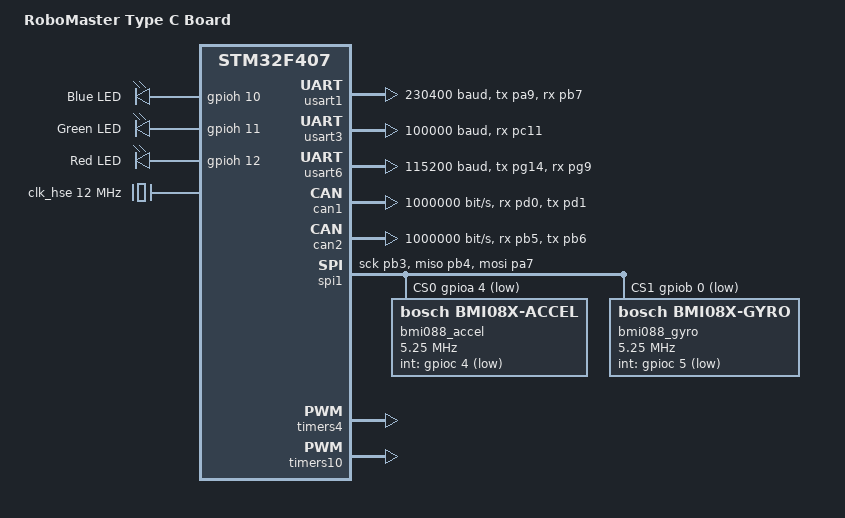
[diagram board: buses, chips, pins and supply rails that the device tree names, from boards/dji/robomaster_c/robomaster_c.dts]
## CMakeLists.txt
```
cmake_minimum_required(VERSION 3.20.0)

find_package(Zephyr REQUIRED HINTS $ENV{ZEPHYR_BASE})
project(unit1_dm4310_test)

target_sources(app PRIVATE
	src/main.c
	src/dm4310_motor.c
)
```

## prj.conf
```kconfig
CONFIG_CAN=y
CONFIG_PRINTK=y
CONFIG_CBPRINTF_FP_SUPPORT=y
```

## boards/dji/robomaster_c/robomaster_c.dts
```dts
/*
 * SPDX-License-Identifier: Apache-2.0
 */

/dts-v1/;

#include <st/f4/stm32f407Xg.dtsi>
#include <st/f4/stm32f407i(e-g)hx-pinctrl.dtsi>
#include <zephyr/dt-bindings/dma/stm32_dma.h>
#include <zephyr/dt-bindings/gpio/gpio.h>

/ {
	model = "RoboMaster Type C Board";
	compatible = "dji,robomaster-c", "st,stm32f407";

	chosen {
		zephyr,console = &usart1;
		zephyr,shell-uart = &usart1;
		zephyr,sram = &sram0;
		zephyr,flash = &flash0;
		zephyr,dtcm = &ccm0;
		zephyr,canbus = &can1;
	};

	aliases {
		led0 = &blue_led;
		led1 = &green_led;
		led2 = &red_led;
		watchdog0 = &iwdg;
	};

	leds {
		compatible = "gpio-leds";

		blue_led: led_0 {
			gpios = <&gpioh 10 GPIO_ACTIVE_HIGH>;
			label = "Blue LED";
		};

		green_led: led_1 {
			gpios = <&gpioh 11 GPIO_ACTIVE_HIGH>;
			label = "Green LED";
		};

		red_led: led_2 {
			gpios = <&gpioh 12 GPIO_ACTIVE_HIGH>;
			label = "Red LED";
		};
	};
};

&clk_hse {
	clock-frequency = <DT_FREQ_M(12)>;
	status = "okay";
};

&pll {
	div-m = <6>;
	mul-n = <168>;
	div-p = <2>;
	div-q = <7>;
	clocks = <&clk_hse>;
	status = "okay";
};

&rcc {
	clocks = <&pll>;
	clock-frequency = <DT_FREQ_M(168)>;
	ahb-prescaler = <1>;
	apb1-prescaler = <4>;
	apb2-prescaler = <2>;
};

&usart1 {
	pinctrl-0 = <&usart1_tx_pa9 &usart1_rx_pb7>;
	pinctrl-names = "default";
	current-speed = <230400>;
	status = "okay";
};

&usart3 {
	pinctrl-0 = <&usart3_rx_pc11>;
	pinctrl-names = "default";
	current-speed = <100000>;
	dmas = <&dma1 3 4 STM32_DMA_PERIPH_TX STM32_DMA_FIFO_FULL>,
	       <&dma1 1 4 (STM32_DMA_PERIPH_RX | STM32_DMA_MODE_CYCLIC) STM32_DMA_FIFO_FULL>;
	dma-names = "tx", "rx";
	status = "okay";
};

&dma1 {
	status = "okay";
};

&usart6 {
	pinctrl-0 = <&usart6_tx_pg14 &usart6_rx_pg9>;
	pinctrl-names = "default";
	current-speed = <115200>;
	status = "okay";
};

&can1 {
	pinctrl-0 = <&can1_rx_pd0 &can1_tx_pd1>;
	pinctrl-names = "default";
	bitrate = <1000000>;
	status = "okay";
};

&can2 {
	pinctrl-0 = <&can2_rx_pb5 &can2_tx_pb6>;
	pinctrl-names = "default";
	bitrate = <1000000>;
	status = "okay";
};

&flash0 {
	partitions {
		compatible = "fixed-partitions";
		#address-cells = <1>;
		#size-cells = <1>;

		code_partition: partition@0 {
			label = "image-0";
			reg = <0x00000000 0x000c0000>;
		};

		storage_partition: partition@c0000 {
			label = "storage";
			reg = <0x000c0000 0x00040000>;
		};
	};
};

&spi1 {
	pinctrl-0 = <&spi1_sck_pb3 &spi1_miso_pb4 &spi1_mosi_pa7>;
	pinctrl-names = "default";
	cs-gpios = <&gpioa 4 GPIO_ACTIVE_LOW>,
		   <&gpiob 0 GPIO_ACTIVE_LOW>;
	status = "okay";

	bmi088_accel: bmi088-accel@0 {
		compatible = "bosch,bmi08x-accel";
		reg = <0>;
		spi-max-frequency = <5250000>;
		spi-cpol;
		spi-cpha;
		int-gpios = <&gpioc 4 GPIO_ACTIVE_LOW>;
		int1-map-io = <0x01>;
		int1-conf-io = <0x08>;
		int2-map-io = <0x01>;
		int2-conf-io = <0x08>;
		accel-hz = "800";
		accel-fs = <3>;
	};

	bmi088_gyro: bmi088-gyro@1 {
		compatible = "bosch,bmi08x-gyro";
		reg = <1>;
		spi-max-frequency = <5250000>;
		spi-cpol;
		spi-cpha;
		int-gpios = <&gpioc 5 GPIO_ACTIVE_LOW>;
		int3-4-map-io = <0x01>;
		int3-4-conf-io = <0x00>;
		gyro-hz = "1000_116";
		gyro-fs = <2000>;
	};
};

&timers4 {
	status = "okay";

	buzzer_pwm: pwm {
		pinctrl-0 = <&tim4_ch3_pd14>;
		pinctrl-names = "default";
		status = "okay";
	};
};

&timers10 {
	status = "okay";

	imu_heater_pwm: pwm {
		pinctrl-0 = <&tim10_ch1_pf6>;
		pinctrl-names = "default";
		status = "okay";
	};
};
```

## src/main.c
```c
/**
 * @file main.c
 * @brief DM4310 Spring-Damper + Side Detection
 *
 * Power-on flow:
 *   1. dm4310_init()  - init CAN1/CAN2, both buses at 1Mbps
 *   2. dm4310_tick()  - per-motor bringup (DISABLE 10 ticks -> ZERO 10 ticks -> DONE)
 *   3. After bringup, capture current motor positions as spring home
 *   4. Spring-damper hold: low-stiffness MIT impedance control
 *        torque = KP * (home_pos - pos_actual) + KD * (0 - vel_actual)
 *      Low KP allows manual turning; spring-back when released.
 *   5. Side detection: monitors which leg pair is being moved.
 *
 * Architecture for future leg sync:
 *   Left leg:  motors 1 (hip) + 2 (knee) on CAN1
 *   Right leg: motors 3 (hip) + 4 (knee) on CAN2
 *   Each side tracks its own spring home; sync couples them.
 *
 * OpenOCD debug variables (volatile, accessible via gdb/monitor mdw):
 *   cmd_kp               - spring stiffness (0-500, default 10)
 *   cmd_kd               - damping (0-5, default 0.5)
 *   cmd_target_offset[]  - target position offset from home [rad]
 *   cmd_side_on_thresh   - side detection ON threshold [rad] (default 0.08)
 *   cmd_side_off_thresh  - side detection OFF threshold [rad] (default 0.03)
 *   cmd_side_active[]    - [0]=left active flag, [1]=right active flag
 *   g_dm4310             - full driver state
 *
 * Motor mapping:
 *   CAN1 -> motor 1 (left hip), motor 2 (left knee)
 *   CAN2 -> motor 3 (right hip), motor 4 (right knee, mirrored)
 */

#include "dm4310_motor.h"

#include <math.h>
#include <zephyr/kernel.h>
#include <zephyr/sys/util.h>

#define LOOP_PERIOD_MS 1U

/* ── Spring-damper gains (low force, hand-turnable) ── */
volatile float cmd_kp = 10.0f;
volatile float cmd_kd = 0.5f;
volatile float cmd_target_offset[DM4310_MOTOR_COUNT];

/* ── Side detection (hysteresis + debounce prevents mechanical-coupling crosstalk) ── */
volatile float cmd_side_on_thresh  = 0.08f;  /* error > this → side active */
volatile float cmd_side_off_thresh = 0.03f;  /* error < this → side inactive */
#define SIDE_DEBOUNCE_MS 80U                /* must sustain for this long */
volatile uint8_t cmd_side_active[2];  /* [0]=left, [1]=right */
static uint8_t  side_dbc[2];         /* debounce counter (ms) */
static uint32_t side_last_ms;

/* ── Spring home positions ── */
static float home_pos_rad[DM4310_MOTOR_COUNT];
static bool home_captured;

/** @brief Capture current motor positions as spring home reference */
static void capture_home(void)
{
	for (int i = 0; i < DM4310_MOTOR_COUNT; i++) {
		home_pos_rad[i] = g_dm4310.motor[i].online
			? g_dm4310.motor[i].pos_rad : 0.0f;
	}
	home_captured = true;
}

static void compute_spring_targets(float target[DM4310_MOTOR_COUNT])
{
	for (int i = 0; i < DM4310_MOTOR_COUNT; i++) {
		target[i] = home_pos_rad[i] + cmd_target_offset[i];
		g_dm4310.hold_kp[i] = cmd_kp;
		g_dm4310.hold_kd[i] = cmd_kd;
	}
}

static void detect_active_side(const float target[DM4310_MOTOR_COUNT])
{
	float error_left  = 0.0f;
	float error_right = 0.0f;
	uint32_t now = k_uptime_get_32();
	uint32_t dt_ms = (side_last_ms != 0U) ? (now - side_last_ms) : LOOP_PERIOD_MS;
	side_last_ms = now;

	/* Left leg: motors 1,2 (indices 0,1) */
	for (int i = 0; i < 2; i++) {
		if (g_dm4310.motor[i].online) {
			float e = fabsf(g_dm4310.motor[i].pos_rad - target[i]);
			if (e > error_left) error_left = e;
		}
	}
	/* Hysteresis + debounce: ON when sustained above on_thresh */
	if (error_left > cmd_side_on_thresh) {
		side_dbc[0] = (uint8_t)((uint32_t)side_dbc[0] + dt_ms);
		if (side_dbc[0] >= SIDE_DEBOUNCE_MS) {
			side_dbc[0] = SIDE_DEBOUNCE_MS;
			cmd_side_active[0] = 1U;
		}
	} else if (error_left < cmd_side_off_thresh) {
		side_dbc[0] = 0U;
		cmd_side_active[0] = 0U;
	}

	/* Right leg: motors 3,4 (indices 2,3) */
	for (int i = 2; i < 4; i++) {
		if (g_dm4310.motor[i].online) {
			float e = fabsf(g_dm4310.motor[i].pos_rad - target[i]);
			if (e > error_right) error_right = e;
		}
	}
	if (error_right > cmd_side_on_thresh) {
		side_dbc[1] = (uint8_t)((uint32_t)side_dbc[1] + dt_ms);
		if (side_dbc[1] >= SIDE_DEBOUNCE_MS) {
			side_dbc[1] = SIDE_DEBOUNCE_MS;
			cmd_side_active[1] = 1U;
		}
	} else if (error_right < cmd_side_off_thresh) {
		side_dbc[1] = 0U;
		cmd_side_active[1] = 0U;
	}
}

/** @brief Main control thread */
static void joint_test_thread(void *p1, void *p2, void *p3)
{
	ARG_UNUSED(p1); ARG_UNUSED(p2); ARG_UNUSED(p3);

	int ret = dm4310_init();
	printk("dm4310_init: %d\n", ret);

	while (1) {
		dm4310_poll_rx();

		if (g_dm4310.bringup_done) {
			if (!home_captured) {
				capture_home();
				printk("Spring home captured, KP=%.1f KD=%.1f\n",
				       (double)cmd_kp, (double)cmd_kd);
			}

			if (home_captured) {
				float target[DM4310_MOTOR_COUNT];
				compute_spring_targets(target);
				detect_active_side(target);
				dm4310_hold_positions(target);

				/* Print side activity state changes */
				static uint8_t last_side[2] = {0xFF, 0xFF};
				if (cmd_side_active[0] != last_side[0] ||
				    cmd_side_active[1] != last_side[1]) {
					printk("Side: L=%d R=%d\n",
					       cmd_side_active[0], cmd_side_active[1]);
					last_side[0] = cmd_side_active[0];
					last_side[1] = cmd_side_active[1];
				}

				/* Throttled status print: once per second */
				static uint32_t status_tick;
				if (++status_tick >= 1000) {
					status_tick = 0;
					printk("pos:[%.3f %.3f %.3f %.3f] err:[%.3f %.3f %.3f %.3f] L=%d R=%d\n",
					       (double)g_dm4310.motor[0].pos_rad,
					       (double)g_dm4310.motor[1].pos_rad,
					       (double)g_dm4310.motor[2].pos_rad,
					       (double)g_dm4310.motor[3].pos_rad,
					       (double)(g_dm4310.motor[0].pos_rad - target[0]),
					       (double)(g_dm4310.motor[1].pos_rad - target[1]),
					       (double)(g_dm4310.motor[2].pos_rad - target[2]),
					       (double)(g_dm4310.motor[3].pos_rad - target[3]),
					       cmd_side_active[0], cmd_side_active[1]);
				}
			}
		}

		dm4310_tick();
		k_sleep(K_MSEC(LOOP_PERIOD_MS));
	}
}

K_THREAD_DEFINE(joint_test_tid, 4096,
		joint_test_thread, NULL, NULL, NULL, 3, 0, 0);

int main(void)
{
	printk("=== DM4310 Spring-Damper + Side Detect ===\n");
	printk("KP=%.1f KD=%.1f  SideDetect(ON>%.2f OFF<%.2f rad)\n",
	       (double)cmd_kp, (double)cmd_kd,
	       (double)cmd_side_on_thresh, (double)cmd_side_off_thresh);
	printk("Left:  motors 1,2 on CAN1\n");
	printk("Right: motors 3,4 on CAN2\n");
	return 0;
}
```

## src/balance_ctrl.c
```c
#include "balance_ctrl.h"

#include <math.h>
#include <string.h>

/* Balance control tunables. Keep this block together for OpenOCD tuning. */
#define BALANCE_WHEEL_SPEED_LIMIT_RPM 3000.0f
#define BALANCE_WHEEL_CURRENT_LIMIT 16384.0f
#define BALANCE_RC_INPUT_MAX 1684.0f
#define BALANCE_RC_SPEED_LIMIT_RPM BALANCE_WHEEL_SPEED_LIMIT_RPM

#define BALANCE_SPEED_KP_DEFAULT 20.0f
#define BALANCE_SPEED_KI_DEFAULT 0. 05f
#define BALANCE_SPEED_INTEGRAL_LIMIT 80000.0f

#define BALANCE_PITCH_KP_DEFAULT 90.0f
#define BALANCE_PITCH_KD_DEFAULT 4.5f

volatile struct balance_ctrl_state g_balance_ctrl = {
	.magic = BALANCE_CTRL_MAGIC,
};

static float clampf_local(float value, float min_value, float max_value)
{
	if (value > max_value) {
		return max_value;
	}
	if (value < min_value) {
		return min_value;
	}

	return value;
}

static void clear_output(struct balance_ctrl_output *output)
{
	output->active = 0U;
	output->wheel_current[0] = 0;
	output->wheel_current[1] = 0;
}

static void clear_runtime(volatile struct balance_ctrl_state *ctrl)
{
	ctrl->pitch_zero_deg = 0.0f;
	ctrl->pitch_deg = 0.0f;
	ctrl->pitch_rate_dps = 0.0f;
	ctrl->pitch_target_deg = 0.0f;
	ctrl->pitch_error_deg = 0.0f;
	ctrl->pitch_rate_error_dps = 0.0f;
	ctrl->speed_target_rpm = 0.0f;
	ctrl->rc_speed_target_rpm = 0.0f;
	ctrl->balance_speed_target_rpm = 0.0f;
	ctrl->left_speed_target_rpm = 0.0f;
	ctrl->right_speed_target_rpm = 0.0f;
	ctrl->vehicle_speed_rpm = 0.0f;
	ctrl->left_speed_error_rpm = 0.0f;
	ctrl->right_speed_error_rpm = 0.0f;
	ctrl->left_speed_integral = 0.0f;
	ctrl->right_speed_integral = 0.0f;
	ctrl->pitch_p_out_rpm = 0.0f;
	ctrl->pitch_d_out_rpm = 0.0f;
	ctrl->left_speed_p_out = 0.0f;
	ctrl->left_speed_i_out = 0.0f;
	ctrl->right_speed_p_out = 0.0f;
	ctrl->right_speed_i_out = 0.0f;
	ctrl->left_current = 0.0f;
	ctrl->right_current = 0.0f;
}

static void controller_reset(volatile struct balance_ctrl_state *ctrl)
{
	ctrl->enabled = 0U;
	ctrl->captured = 0U;
	clear_runtime(ctrl);
}

static float rc_to_speed_target_rpm(int32_t rc_forward)
{
	float target = (float)rc_forward * BALANCE_RC_SPEED_LIMIT_RPM / BALANCE_RC_INPUT_MAX;

	return clampf_local(target, -BALANCE_RC_SPEED_LIMIT_RPM,
			    BALANCE_RC_SPEED_LIMIT_RPM);
}

static float update_pitch_loop(volatile struct balance_ctrl_state *ctrl,
			       const struct balance_ctrl_input *input)
{
	ctrl->pitch_deg = input->pitch_deg;
	ctrl->pitch_rate_dps = input->pitch_rate_dps;
	ctrl->pitch_target_deg = ctrl->pitch_zero_deg;
	ctrl->pitch_error_deg = ctrl->pitch_target_deg - input->pitch_deg;
	ctrl->pitch_rate_error_dps = -input->pitch_rate_dps;
	ctrl->pitch_p_out_rpm = ctrl->pitch_pd.kp * ctrl->pitch_error_deg;
	ctrl->pitch_d_out_rpm = ctrl->pitch_pd.kd * ctrl->pitch_rate_error_dps;
	ctrl->balance_speed_target_rpm = ctrl->pitch_p_out_rpm + ctrl->pitch_d_out_rpm;

	return clampf_local(ctrl->balance_speed_target_rpm,
			    -BALANCE_WHEEL_SPEED_LIMIT_RPM,
			    BALANCE_WHEEL_SPEED_LIMIT_RPM);
}

static float update_wheel_speed_loop(volatile struct balance_ctrl_state *ctrl,
				     float target_rpm, float actual_rpm, uint8_t left)
{
	float error = target_rpm - actual_rpm;
	float integral;
	float p_out;
	float i_out;
	float current;

	if (left != 0U) {
		ctrl->left_speed_error_rpm = error;
		ctrl->left_speed_integral += error;
		ctrl->left_speed_integral =
			clampf_local(ctrl->left_speed_integral,
				     -ctrl->speed_pi.integral_limit,
				     ctrl->speed_pi.integral_limit);
		integral = ctrl->left_speed_integral;
	} else {
		ctrl->right_speed_error_rpm = error;
		ctrl->right_speed_integral += error;
		ctrl->right_speed_integral =
			clampf_local(ctrl->right_speed_integral,
				     -ctrl->speed_pi.integral_limit,
				     ctrl->speed_pi.integral_limit);
		integral = ctrl->right_speed_integral;
	}

	p_out = ctrl->speed_pi.kp * error;
	i_out = ctrl->speed_pi.ki * integral;
	current = clampf_local(p_out + i_out, -ctrl->speed_pi.output_limit,
			       ctrl->speed_pi.output_limit);

	if (left != 0U) {
		ctrl->left_speed_p_out = p_out;
		ctrl->left_speed_i_out = i_out;
		ctrl->left_current = current;
	} else {
		ctrl->right_speed_p_out = p_out;
		ctrl->right_speed_i_out = i_out;
		ctrl->right_current = current;
	}

	return current;
}

void balance_ctrl_init(volatile struct balance_ctrl_state *ctrl)
{
	memset((void *)ctrl, 0, sizeof(*ctrl));
	ctrl->magic = BALANCE_CTRL_MAGIC;

	ctrl->speed_pi.kp = BALANCE_SPEED_KP_DEFAULT;
	ctrl->speed_pi.ki = BALANCE_SPEED_KI_DEFAULT;
	ctrl->speed_pi.integral_limit = BALANCE_SPEED_INTEGRAL_LIMIT;
	ctrl->speed_pi.output_limit = BALANCE_WHEEL_CURRENT_LIMIT;

	ctrl->pitch_pd.kp = BALANCE_PITCH_KP_DEFAULT;
	ctrl->pitch_pd.kd = BALANCE_PITCH_KD_DEFAULT;
	ctrl->pitch_pd.output_limit = BALANCE_WHEEL_SPEED_LIMIT_RPM;
}

void balance_ctrl_update(volatile struct balance_ctrl_state *ctrl,
			 const struct balance_ctrl_input *input,
			 struct balance_ctrl_output *output)
{
	float rc_speed_target;
	float balance_speed_target;
	float left_current;
	float right_current;

	ctrl->update_count++;
	ctrl->last_ms = input->now_ms;
	ctrl->enabled = input->enabled;

	clear_output(output);

	if (input->enabled == 0U) {
		controller_reset(ctrl);
		return;
	}

	if (ctrl->captured == 0U) {
		ctrl->pitch_zero_deg = input->pitch_deg;
		ctrl->captured = 1U;
	}

	rc_speed_target = rc_to_speed_target_rpm(input->rc_forward);
	balance_speed_target = update_pitch_loop(ctrl, input);

	ctrl->rc_speed_target_rpm = rc_speed_target;
	ctrl->speed_target_rpm = rc_speed_target;
	ctrl->vehicle_speed_rpm =
		((float)input->wheel_speed_rpm[0] + (float)input->wheel_speed_rpm[1]) *
		0.5f;
	ctrl->left_speed_target_rpm =
		clampf_local(balance_speed_target + rc_speed_target,
			     -BALANCE_WHEEL_SPEED_LIMIT_RPM,
			     BALANCE_WHEEL_SPEED_LIMIT_RPM);
	ctrl->right_speed_target_rpm = ctrl->left_speed_target_rpm;

	left_current = update_wheel_speed_loop(ctrl, ctrl->left_speed_target_rpm,
					       (float)input->wheel_speed_rpm[0], 1U);
	right_current = update_wheel_speed_loop(ctrl, ctrl->right_speed_target_rpm,
						(float)input->wheel_speed_rpm[1], 0U);

	output->active = 1U;
	output->wheel_current[0] = (int16_t)lrintf(left_current);
	output->wheel_current[1] = (int16_t)lrintf(right_current);
}
```

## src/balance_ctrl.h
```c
#ifndef BALANCE_CTRL_H_
#define BALANCE_CTRL_H_

#include <stdint.h>

#define BALANCE_CTRL_MAGIC 0x42414c31
#define BALANCE_CTRL_WHEEL_COUNT 2

struct balance_ctrl_input {
	uint32_t now_ms;
	float dt_s;
	uint8_t enabled;
	uint8_t position_hold_enabled;
	int32_t rc_forward;
	int32_t rc_turn;
	float pitch_deg;
	float pitch_rate_dps;
	uint8_t wheel_online[BALANCE_CTRL_WHEEL_COUNT];
	uint16_t wheel_angle_raw[BALANCE_CTRL_WHEEL_COUNT];
	int16_t wheel_speed_rpm[BALANCE_CTRL_WHEEL_COUNT];
};

struct balance_ctrl_output {
	uint8_t active;
	int16_t wheel_current[BALANCE_CTRL_WHEEL_COUNT];
};

struct balance_ctrl_pd {
	float kp;
	float kd;
	float output_limit;
};

struct balance_ctrl_pi {
	float kp;
	float ki;
	float integral_limit;
	float output_limit;
};

struct balance_ctrl_state {
	uint32_t magic;
	uint32_t update_count;
	uint32_t last_ms;
	uint8_t enabled;
	uint8_t captured;
	uint8_t reserved[2];
	float pitch_zero_deg;
	float pitch_deg;
	float pitch_rate_dps;
	float pitch_target_deg;
	float pitch_error_deg;
	float pitch_rate_error_dps;
	float speed_target_rpm;
	float rc_speed_target_rpm;
	float balance_speed_target_rpm;
	float left_speed_target_rpm;
	float right_speed_target_rpm;
	float turn_speed_target_rpm;
	float vehicle_speed_rpm;
	float left_speed_error_rpm;
	float right_speed_error_rpm;
	float left_speed_integral;
	float right_speed_integral;
	float pitch_p_out_rpm;
	float pitch_d_out_rpm;
	float left_speed_p_out;
	float left_speed_i_out;
	float right_speed_p_out;
	float right_speed_i_out;
	float left_current;
	float right_current;
	struct balance_ctrl_pi speed_pi;
	struct balance_ctrl_pd pitch_pd;
};

extern volatile struct balance_ctrl_state g_balance_ctrl;

void balance_ctrl_init(volatile struct balance_ctrl_state *ctrl);
void balance_ctrl_update(volatile struct balance_ctrl_state *ctrl,
			 const struct balance_ctrl_input *input,
			 struct balance_ctrl_output *output);

#endif
```

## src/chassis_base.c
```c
#include "chassis_base.h"

#include "balance_ctrl.h"
#include "chassis_sm.h"
#include "dm4310_motor.h"
#include "rm_imu.h"
#include "rm_m3508.h"
#include "rm_sbus.h"

volatile struct chassis_base_status g_chassis_base = {
	.magic = CHASSIS_BASE_MAGIC,
};

volatile struct chassis_debug_override g_chassis_debug_override;
volatile struct chassis_m3508_command g_chassis_m3508_cmd;

void chassis_base_init(void)
{
	g_chassis_base.magic = CHASSIS_BASE_MAGIC;
	g_chassis_base.sbus_init_ret = rm_sbus_init();
	g_chassis_base.lk_init_ret = dm4310_init();
	g_chassis_base.m3508_init_ret = rm_m3508_init();
	g_chassis_base.imu_init_ret = rm_imu_init();
	balance_ctrl_init(&g_balance_ctrl);
	chassis_sm_init(&g_chassis_sm);
	g_chassis_base.init_done = 1U;
}
```

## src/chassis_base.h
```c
#ifndef CHASSIS_BASE_H_
#define CHASSIS_BASE_H_

#include "rm_m3508.h"

#include <stdint.h>

#define CHASSIS_BASE_MAGIC 0x43484253

enum chassis_m3508_mode {
	CHASSIS_M3508_MODE_DISABLED = 0,
	CHASSIS_M3508_MODE_CURRENT = 1,
};

struct chassis_m3508_command {
	uint32_t seq;
	uint8_t mode;
	uint8_t reserved[3];
	int16_t current[RM_M3508_MOTOR_COUNT];
};

struct chassis_base_status {
	uint32_t magic;
	uint32_t init_done;
	uint32_t last_ms;
	uint32_t imu_loops;
	uint32_t control_loops;
	uint32_t imu_last_ms;
	uint32_t control_last_ms;
	int32_t sbus_init_ret;
	int32_t lk_init_ret;
	int32_t m3508_init_ret;
	int32_t imu_init_ret;
	int32_t imu_update_ret;
	int32_t lk_poll_ret;
	int32_t joint_hold_ret;
	int32_t joint_run_ret;
	int32_t m3508_apply_ret;
	uint32_t sbus_seq;
	uint32_t lk_online_mask;
	uint32_t lk_encoder_valid_mask;
	uint32_t m3508_online_mask;
	uint32_t sm_events;
	uint32_t sm_joint_hold_valid_mask;
	uint32_t balance_updates;
	uint8_t imu_ready;
	uint8_t sbus_connected;
	uint8_t sm_system_state;
	uint8_t sm_joint_state;
	uint8_t sm_chassis_state;
	uint8_t sm_fault;
	uint8_t balance_active;
	uint8_t sbus_ch5;
	uint8_t sbus_ch6;
	uint8_t sbus_ch8;
	int16_t balance_left_current;
	int16_t balance_right_current;
};

struct chassis_debug_override {
	uint32_t magic;
	uint8_t force_ch5;
	uint8_t force_ch6;
	uint8_t force_ch8;
	uint8_t force_sbus_connected;
	uint8_t force_rc;
	uint8_t reserved[3];
	int32_t rc_forward;
	int32_t rc_turn;
	uint8_t force_m3508_current;
	uint8_t reserved2[3];
	int16_t m3508_can2_current;
	int16_t m3508_can1_current;
	uint32_t x_axis_calib_seq;
	float x_axis_calib_x;
	uint32_t x_axis_calib_count;
	int32_t x_axis_calib_ret;
	uint32_t can1_home_save_seq;
	int32_t can1_home_save_ret;
};

extern volatile struct chassis_base_status g_chassis_base;
extern volatile struct chassis_debug_override g_chassis_debug_override;
extern volatile struct chassis_m3508_command g_chassis_m3508_cmd;

void chassis_base_init(void);

#endif
```

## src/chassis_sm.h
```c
/**
 * @file chassis_sm.h
 * @brief 底盘状态机共享常量
 */

#ifndef CHASSIS_SM_H_
#define CHASSIS_SM_H_

/** @brief 关节电机数量 (4 台 DM4310: 左髋/左膝 + 右髋/右膝) */
#define CHASSIS_SM_JOINT_COUNT 4

#endif /* CHASSIS_SM_H_ */
```

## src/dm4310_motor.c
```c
#include "dm4310_motor.h"

#include <errno.h>
#include <math.h>
#include <string.h>

#include <zephyr/device.h>
#include <zephyr/devicetree.h>
#include <zephyr/kernel.h>
#include <zephyr/sys/util.h>

K_MSGQ_DEFINE(dm4310_can_rx_msgq, sizeof(struct can_frame), 64, 4);

#define DM4310_OUTPUT_ENABLED 1
#define DM4310_CAN1_HOME_ENABLED 0
#define DM4310_HOME_START_IDX 0U
#define DM4310_NORMAL_OUTPUT_ENABLED 1
#define DM4310_CAN1_HOME_USE_FLASH 0
#define DM4310_CAN1_HOME_NVS_ID 1U
#define DM4310_CAN1_HOME_MAGIC 0x4331484dU
#define DM4310_CAN1_HOME_VERSION 4U
#define DM4310_CAN1_HOME_ENABLE_TICKS 200U
#define DM4310_CAN1_HOME_MODE_TICKS 100U
#define DM4310_CAN1_HOLD_KP 100.0f
#define DM4310_CAN1_HOLD_KD 2.2f
#define DM4310_CAN2_HOLD_KP 100.0f
#define DM4310_CAN2_HOLD_KD 2.2f
#define DM4310_HOME_DEADBAND_RAD 0.015f
#define DM4310_CTRL_MODE_MIT 1U
#define DM4310_REG_CTRL_MODE 0x0AU
#define DM4310_REG_WRITE_ID 0x7FFU

struct dm4310_can1_home_record {
	uint32_t magic;
	uint32_t version;
	float pos_rad[DM4310_HOME_MOTOR_COUNT];
};

volatile struct dm4310_driver g_dm4310 = {
	.magic = DM4310_MAGIC,
};

static const struct device *can1_dev;
static const struct device *can2_dev;

static int dm4310_send_raw(uint16_t std_id, const uint8_t data[8]);

static inline const struct device *motor_idx_to_can(uint8_t motor_idx)
{
	return (motor_idx < DM4310_MOTORS_ON_CAN1) ? can1_dev : can2_dev;
}

static void put_le_u32(uint8_t data[4], uint32_t value)
{
	data[0] = (uint8_t)value;
	data[1] = (uint8_t)(value >> 8);
	data[2] = (uint8_t)(value >> 16);
	data[3] = (uint8_t)(value >> 24);
}

static int dm4310_write_u32_register(uint8_t motor_id, uint8_t reg, uint32_t value)
{
	uint8_t data[8];
	struct can_frame frame;
	int ret;

	data[0] = motor_id;
	data[1] = 0U;
	data[2] = 0x55U;
	data[3] = reg;
	put_le_u32(&data[4], value);

	memset(&frame, 0, sizeof(frame));
	frame.id = DM4310_REG_WRITE_ID;
	frame.dlc = 8;
	memcpy(frame.data, data, 8);

	ret = can_send(motor_idx_to_can(motor_id - 1U), &frame, K_MSEC(2), NULL, NULL);
	g_dm4310.last_send_ret = ret;

	return ret;
}

static uint8_t dm4310_home_motors_online(void)
{
	for (int motor = 0; motor < DM4310_HOME_MOTOR_COUNT; motor++) {
		if (g_dm4310.motor[motor].online == 0U) {
			return 0U;
		}
	}
	return 1U;
}

static float dm4310_home_kp(uint8_t motor_idx)
{
	return motor_idx < DM4310_MOTORS_ON_CAN1 ? DM4310_CAN1_HOLD_KP : DM4310_CAN2_HOLD_KP;
}

static float dm4310_home_kd(uint8_t motor_idx)
{
	return motor_idx < DM4310_MOTORS_ON_CAN1 ? DM4310_CAN1_HOLD_KD : DM4310_CAN2_HOLD_KD;
}

static uint8_t dm4310_home_in_deadband(uint8_t motor_idx)
{
	float target = g_dm4310.can1_home_pos_rad[motor_idx];
	float actual = g_dm4310.motor[motor_idx].pos_rad;

	return fabsf(target - actual) < DM4310_HOME_DEADBAND_RAD ? 1U : 0U;
}

static float clampf(float v, float lo, float hi)
{
	if (v < lo) return lo;
	if (v > hi) return hi;
	return v;
}

static uint16_t float_to_uint(float x, float x_min, float x_max, int bits)
{
	float span, offset, scaled;
	uint32_t levels;

	x = clampf(x, x_min, x_max);
	span = x_max - x_min;
	offset = x - x_min;
	levels = ((uint32_t)1u << (uint32_t)bits) - 1u;
	scaled = offset * (float)levels / span;
	return (uint16_t)(scaled + 0.5f);
}

static float uint_to_float(int x_int, float x_min, float x_max, int bits)
{
	float span;
	uint32_t levels;

	span = x_max - x_min;
	levels = ((uint32_t)1u << (uint32_t)bits) - 1u;
	return ((float)x_int * span / (float)levels) + x_min;
}

void dm4310_pack_special(uint8_t tail, uint8_t data[8])
{
	memset(data, 0xFF, 7);
	data[7] = tail;
}

void dm4310_pack_control(float pos, float vel, float kp, float kd, float tor,
			 uint8_t data[8])
{
	uint16_t p_int, v_int, kp_int, kd_int, t_int;

	p_int = float_to_uint(pos, DM4310_P_MIN, DM4310_P_MAX, 16);
	v_int = float_to_uint(vel, DM4310_V_MIN, DM4310_V_MAX, 12);
	kp_int = float_to_uint(kp, DM4310_KP_MIN, DM4310_KP_MAX, 12);
	kd_int = float_to_uint(kd, DM4310_KD_MIN, DM4310_KD_MAX, 12);
	t_int = float_to_uint(tor, DM4310_T_MIN, DM4310_T_MAX, 12);

	data[0] = (uint8_t)(p_int >> 8);
	data[1] = (uint8_t)(p_int & 0xFFU);
	data[2] = (uint8_t)(v_int >> 4);
	data[3] = (uint8_t)(((v_int & 0x0FU) << 4) | (uint8_t)(kp_int >> 8));
	data[4] = (uint8_t)(kp_int & 0xFFU);
	data[5] = (uint8_t)(kd_int >> 4);
	data[6] = (uint8_t)(((kd_int & 0x0FU) << 4) | (uint8_t)(t_int >> 8));
	data[7] = (uint8_t)(t_int & 0xFFU);
}

bool dm4310_decode_feedback(const uint8_t data[8],
			    struct dm4310_motor_status *out)
{
	uint8_t motor_id;
	int p_int, v_int, t_int;

	motor_id = (uint8_t)(data[0] & 0x0FU);
	if (motor_id == 0U || motor_id > DM4310_MOTOR_COUNT) {
		return false;
	}

	p_int = ((int)data[1] << 8) | (int)data[2];
	v_int = ((int)data[3] << 4) | ((int)data[4] >> 4);
	t_int = (((int)data[4] & 0x0F) << 8) | (int)data[5];

	out->motor_state = (uint8_t)(data[0] >> 4);
	out->pos_rad = uint_to_float(p_int, DM4310_P_MIN, DM4310_P_MAX, 16);
	out->vel_radps = uint_to_float(v_int, DM4310_V_MIN, DM4310_V_MAX, 12);
	out->torque_nm = uint_to_float(t_int, DM4310_T_MIN, DM4310_T_MAX, 12);
	out->mos_temp = data[6];
	out->coil_temp = data[7];
	out->rx_count++;
	out->last_ms = k_uptime_get_32();
	out->online = 1U;

	return true;
}

static int dm4310_send_raw(uint16_t std_id, const uint8_t data[8])
{
	struct can_frame frame;
	int ret;
	uint8_t motor_idx = (uint8_t)(std_id - DM4310_CAN_TX_ID_BASE);

	memset(&frame, 0, sizeof(frame));
	frame.id = std_id;
	frame.dlc = 8;
	memcpy(frame.data, data, 8);

	ret = can_send(motor_idx_to_can(motor_idx), &frame, K_MSEC(2), NULL, NULL);
	g_dm4310.last_send_ret = ret;

	return ret;
}

static void drain_rx(void)
{
	struct can_frame frame;

	while (k_msgq_get(&dm4310_can_rx_msgq, &frame, K_NO_WAIT) == 0) {
		struct dm4310_motor_status status = { 0 };
		uint8_t mid;

		if (frame.data[2] == 0x55U || frame.data[2] == 0x33U || frame.data[2] == 0xAAU) {
			continue;
		}

		if (!dm4310_decode_feedback(frame.data, &status)) {
			continue;
		}

		mid = (uint8_t)(frame.data[0] & 0x0FU);
		if (mid >= 1U && mid <= DM4310_MOTOR_COUNT) {
			g_dm4310.motor[mid - 1U] = status;
		}
	}
}

static void refresh_online_mask(void)
{
	uint32_t mask = 0;
	uint32_t now = k_uptime_get_32();

	for (int i = 0; i < DM4310_MOTOR_COUNT; i++) {
		if (g_dm4310.motor[i].rx_count == 0U ||
		    (now - g_dm4310.motor[i].last_ms) > DM4310_ONLINE_TIMEOUT_MS) {
			g_dm4310.motor[i].online = 0;
		}
		if (g_dm4310.motor[i].online) {
			mask |= BIT(i);
		}
	}
	g_dm4310.online_mask = mask;
}

static int dm4310_init_bus(const struct device *dev)
{
	const struct can_filter filter = {
		.id = 0x000U,
		.mask = 0x000U,
		.flags = 0,
	};
	int ret;

	ret = can_stop(dev);
	if (ret < 0 && ret != -EALREADY && ret != -ENETDOWN) {
		return ret;
	}

	ret = can_set_mode(dev, CAN_MODE_ONE_SHOT);
	if (ret < 0) {
		return ret;
	}

	ret = can_start(dev);
	if (ret < 0) {
		return ret;
	}

	ret = can_add_rx_filter_msgq(dev, &dm4310_can_rx_msgq, &filter);
	if (ret < 0) {
		return ret;
	}

	return 0;
}

int dm4310_init(void)
{
	memset((void *)&g_dm4310, 0, sizeof(g_dm4310));
	g_dm4310.magic = DM4310_MAGIC;

	can1_dev = DEVICE_DT_GET(DT_NODELABEL(can1));
	if (!device_is_ready(can1_dev)) {
		g_dm4310.init_ret = -ENODEV;
		return -ENODEV;
	}

	can2_dev = DEVICE_DT_GET(DT_NODELABEL(can2));
	if (!device_is_ready(can2_dev)) {
		g_dm4310.init_ret = -ENODEV;
		return -ENODEV;
	}

	g_dm4310.init_ret = dm4310_init_bus(can1_dev);
	if (g_dm4310.init_ret < 0) {
		return g_dm4310.init_ret;
	}

	g_dm4310.init_ret = dm4310_init_bus(can2_dev);
	if (g_dm4310.init_ret < 0) {
		return g_dm4310.init_ret;
	}

	g_dm4310.can1_home_load_ret = -ENOTSUP;
#if DM4310_CAN1_HOME_USE_FLASH != 0
	g_dm4310.can1_home_load_ret = dm4310_nvs_init();
	if (g_dm4310.can1_home_load_ret == 0) {
		g_dm4310.can1_home_load_ret = dm4310_load_can1_home();
	}
#endif

	g_dm4310.ready = 1U;
	for (int i = 0; i < DM4310_MOTOR_COUNT; i++) {
		g_dm4310.hold_kp[i] = 90.0f;
		g_dm4310.hold_kd[i] = 1.8f;
	}

	return 0;
}

void dm4310_poll_rx(void)
{
	drain_rx();
	refresh_online_mask();

#if DM4310_CAN1_HOME_ENABLED != 0
	if (g_dm4310.can1_home_valid == 0U && g_dm4310.can1_home_enable_ticks == 0U) {
		g_dm4310.can1_home_enable_ticks = DM4310_CAN1_HOME_MODE_TICKS +
						       DM4310_CAN1_HOME_ENABLE_TICKS;
	}

#endif
}

int dm4310_tick(void)
{
	uint8_t id;
	uint8_t idx;
	uint32_t step;
	uint32_t tick;
	uint8_t data[8];
	int ret = 0;

	drain_rx();
	refresh_online_mask();

	#if DM4310_OUTPUT_ENABLED == 0
	dm4310_hold_reset();
	g_dm4310.loops++;
	return 0;
	#endif

#if DM4310_CAN1_HOME_ENABLED != 0
	if (g_dm4310.can1_home_valid != 0U) {
		g_dm4310.can1_home_active = 1U;
		for (int n = 0; n < 2; n++) {
			if (g_dm4310.tx_index >= DM4310_MOTOR_COUNT) {
				g_dm4310.tx_index = 0;
			}
			idx = g_dm4310.tx_index;
			if (idx >= DM4310_HOME_START_IDX && idx < DM4310_HOME_MOTOR_COUNT) {
				if (g_dm4310.can1_home_enable_ticks > 0U) {
					dm4310_pack_special(DM4310_CMD_ENABLE_TAIL, data);
					g_dm4310.can1_home_enable_ticks--;
				} else if (dm4310_home_in_deadband(idx) != 0U) {
					dm4310_pack_control(g_dm4310.motor[idx].pos_rad, 0.0f,
							    0.0f, dm4310_home_kd(idx), 0.0f, data);
				} else {
					dm4310_pack_control(g_dm4310.can1_home_pos_rad[idx], 0.0f,
							    dm4310_home_kp(idx), dm4310_home_kd(idx), 0.0f, data);
				}
			} else {
				dm4310_pack_special(DM4310_CMD_DISABLE_TAIL, data);
			}
			ret = dm4310_send_raw(DM4310_CAN_TX_ID_BASE + idx, data);
			g_dm4310.tx_index++;
		}
		g_dm4310.loops++;
		return ret;
	}

	for (int n = 0; n < 2; n++) {
		if (g_dm4310.tx_index >= DM4310_MOTOR_COUNT) {
			g_dm4310.tx_index = 0;
		}
		idx = g_dm4310.tx_index;
		if (idx >= DM4310_HOME_START_IDX && idx < DM4310_HOME_MOTOR_COUNT) {
			if (g_dm4310.can1_home_enable_ticks > DM4310_CAN1_HOME_ENABLE_TICKS) {
				ret = dm4310_write_u32_register(idx + 1U, DM4310_REG_CTRL_MODE,
								DM4310_CTRL_MODE_MIT);
				g_dm4310.can1_home_enable_ticks--;
				g_dm4310.tx_index++;
				continue;
			}
			dm4310_pack_special(DM4310_CMD_ENABLE_TAIL, data);
			if (g_dm4310.can1_home_enable_ticks > 0U) {
				g_dm4310.can1_home_enable_ticks--;
			}
		} else {
			dm4310_pack_special(DM4310_CMD_DISABLE_TAIL, data);
		}
		ret = dm4310_send_raw(DM4310_CAN_TX_ID_BASE + idx, data);
		g_dm4310.tx_index++;
	}
	g_dm4310.loops++;
	return ret;
#endif

#if DM4310_NORMAL_OUTPUT_ENABLED == 0
	dm4310_hold_reset();
	for (int n = 0; n < 2; n++) {
		if (g_dm4310.tx_index >= DM4310_MOTOR_COUNT) {
			g_dm4310.tx_index = 0;
		}
		idx = g_dm4310.tx_index;
		dm4310_pack_special(DM4310_CMD_DISABLE_TAIL, data);
		ret = dm4310_send_raw(DM4310_CAN_TX_ID_BASE + idx, data);
		g_dm4310.tx_index++;
	}
	g_dm4310.loops++;
	return ret;
#endif

	if (g_dm4310.bringup_done) {
		/* Staggered normal control: 2 motors per tick */
		for (int n = 0; n < 2; n++) {
			if (g_dm4310.tx_index >= DM4310_MOTOR_COUNT) {
				g_dm4310.tx_index = 0;
			}
			idx = g_dm4310.tx_index;
			id = idx + 1U;

			if (g_dm4310.hold_updates > 0U) {
				dm4310_pack_control(g_dm4310.hold_pos_rad[idx],
						    0.0f, g_dm4310.hold_kp[idx],
						    g_dm4310.hold_kd[idx], 0.0f, data);
			} else {
				dm4310_pack_control(0.0f, 0.0f, 0.0f, 0.0f, 0.0f,
						    data);
			}
			ret = dm4310_send_raw(DM4310_CAN_TX_ID_BASE + idx, data);
			g_dm4310.tx_index++;
		}
		g_dm4310.loops++;
		return ret;
	}

	/* Bringup: MIT register write -> DISABLE -> ZERO -> ENABLE */
	for (int i = 0; i < DM4310_MOTOR_COUNT; i++) {
		step = g_dm4310.bringup_step[i];
		tick = g_dm4310.bringup_tick[i];

		if (step >= 4U) {
			continue;
		}

		/* Step 0: write MIT mode register via StdId 0x7FF */
		if (step == 0U) {
			ret = dm4310_write_u32_register((uint8_t)(i + 1U),
				DM4310_REG_CTRL_MODE, DM4310_CTRL_MODE_MIT);
			g_dm4310.bringup_step[i] = 1U;
			g_dm4310.bringup_tick[i] = 0U;
			g_dm4310.loops++;
			return ret;
		}

		if (step == 1U) {
			dm4310_pack_special(DM4310_CMD_DISABLE_TAIL, data);
		} else if (step == 2U) {
			dm4310_pack_special(DM4310_CMD_ZERO_TAIL, data);
		} else {
			dm4310_pack_special(DM4310_CMD_ENABLE_TAIL, data);
		}

		ret = dm4310_send_raw(DM4310_CAN_TX_ID_BASE + (uint16_t)i, data);
		tick++;
		if (tick >= DM4310_BRINGUP_TICKS) {
			g_dm4310.bringup_step[i] = step + 1U;
			if (g_dm4310.bringup_step[i] >= 4U) {
				continue;
			}
			g_dm4310.bringup_tick[i] = 0U;
		} else {
			g_dm4310.bringup_tick[i] = tick;
		}
		g_dm4310.loops++;
		return ret;
	}

	/* Check if all motors done */
	uint8_t all_done = 1U;
	for (int i = 0; i < DM4310_MOTOR_COUNT; i++) {
		if (g_dm4310.bringup_step[i] < 4U) {
			all_done = 0U;
			break;
		}
	}
	g_dm4310.bringup_done = all_done;
	g_dm4310.loops++;
	return ret;
}

int dm4310_save_can1_home_current(void)
{
#if DM4310_CAN1_HOME_USE_FLASH != 0
	struct dm4310_can1_home_record record = {
		.magic = DM4310_CAN1_HOME_MAGIC,
		.version = DM4310_CAN1_HOME_VERSION,
	};
	struct dm4310_can1_home_record old_record;
	int ret;

	if (dm4310_nvs_ready == 0U) {
		ret = dm4310_nvs_init();
		if (ret < 0) {
			g_dm4310.can1_home_save_ret = ret;
			return ret;
		}
	}

	if (dm4310_home_motors_online() == 0U) {
		g_dm4310.can1_home_save_ret = -ENOTCONN;
		return g_dm4310.can1_home_save_ret;
	}

	ret = flash_read(dm4310_nvs.flash_device, dm4310_nvs.offset,
			 &old_record, sizeof(old_record));
	if (ret == 0 && old_record.magic == DM4310_CAN1_HOME_MAGIC &&
	    old_record.version == DM4310_CAN1_HOME_VERSION) {
		for (int motor = 0; motor < DM4310_HOME_MOTOR_COUNT; motor++) {
			record.pos_rad[motor] = old_record.pos_rad[motor];
		}
	} else {
		for (int motor = 0; motor < DM4310_HOME_MOTOR_COUNT; motor++) {
			record.pos_rad[motor] = g_dm4310.motor[motor].pos_rad;
		}
	}

	for (int motor = 0; motor < DM4310_HOME_MOTOR_COUNT; motor++) {
		record.pos_rad[motor] = g_dm4310.motor[motor].pos_rad;
	}

	ret = flash_erase(dm4310_nvs.flash_device, dm4310_nvs.offset, dm4310_storage_sector_size);
	if (ret < 0) {
		g_dm4310.can1_home_save_ret = ret;
		return ret;
	}

	ret = flash_write(dm4310_nvs.flash_device, dm4310_nvs.offset, &record, sizeof(record));
	if (ret < 0) {
		g_dm4310.can1_home_save_ret = ret;
		return ret;
	}

	for (int motor = 0; motor < DM4310_HOME_MOTOR_COUNT; motor++) {
		g_dm4310.can1_home_pos_rad[motor] = record.pos_rad[motor];
	}
	g_dm4310.can1_home_valid = 1U;
	g_dm4310.can1_home_enable_ticks = DM4310_CAN1_HOME_MODE_TICKS +
					       DM4310_CAN1_HOME_ENABLE_TICKS;
	g_dm4310.can1_home_active = 1U;
	g_dm4310.can1_home_auto_saved = 1U;
	g_dm4310.can1_home_save_ret = 0;

	return 0;
#else
	ARG_UNUSED(g_dm4310);
	g_dm4310.can1_home_save_ret = -ENOTSUP;
	return -ENOTSUP;
#endif
}

int dm4310_hold_positions(const float target[DM4310_MOTOR_COUNT])
{
#if DM4310_NORMAL_OUTPUT_ENABLED == 0
	ARG_UNUSED(target);
	g_dm4310.hold_updates = 0U;
	return -EACCES;
#else
	g_dm4310.hold_updates++;
	for (int i = 0; i < DM4310_MOTOR_COUNT; i++) {
		g_dm4310.hold_pos_rad[i] = target[i];
	}
	return 0;
#endif
}

void dm4310_hold_reset(void)
{
	g_dm4310.hold_updates = 0;
	memset((void *)g_dm4310.hold_pos_rad, 0, sizeof(g_dm4310.hold_pos_rad));
}

void dm4310_stop_all(void)
{
	uint8_t data[8];

	dm4310_pack_special(DM4310_CMD_DISABLE_TAIL, data);
	for (int i = 0; i < DM4310_MOTOR_COUNT; i++) {
		(void)dm4310_send_raw(DM4310_CAN_TX_ID_BASE + (uint16_t)i, data);
	}
	dm4310_hold_reset();
}

bool dm4310_is_online(uint8_t motor_id)
{
	if (motor_id < 1U || motor_id > DM4310_MOTOR_COUNT) {
		return false;
	}
	return g_dm4310.motor[motor_id - 1U].online != 0U;
}

const volatile struct dm4310_motor_status *dm4310_get(uint8_t motor_id)
{
	if (motor_id < 1U || motor_id > DM4310_MOTOR_COUNT) {
		return NULL;
	}
	return &g_dm4310.motor[motor_id - 1U];
}
```

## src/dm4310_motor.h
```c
#ifndef DM4310_MOTOR_H_
#define DM4310_MOTOR_H_

#include <stdbool.h>
#include <stdint.h>

#include <zephyr/drivers/can.h>

#define DM4310_MAGIC 0x444d3433
#define DM4310_MOTOR_COUNT 4
#define DM4310_HOME_MOTOR_COUNT 4
#define DM4310_CAN_TX_ID_BASE 1U
#define DM4310_MASTER_ID_BASE 0x11U
#define DM4310_MOTORS_ON_CAN1  2U
#define DM4310_ONLINE_TIMEOUT_MS 500

/* MIT protocol range limits */
#define DM4310_P_MIN  (-12.5f)
#define DM4310_P_MAX  12.5f
#define DM4310_V_MIN  (-30.0f)
#define DM4310_V_MAX  30.0f
#define DM4310_KP_MIN 0.0f
#define DM4310_KP_MAX 500.0f
#define DM4310_KD_MIN 0.0f
#define DM4310_KD_MAX 5.0f
#define DM4310_T_MIN  (-10.0f)
#define DM4310_T_MAX  10.0f

/* MIT protocol special command tails */
#define DM4310_CMD_ENABLE_TAIL  0xFC
#define DM4310_CMD_DISABLE_TAIL 0xFD
#define DM4310_CMD_ZERO_TAIL    0xFE

/* Bringup ticks per step */
#define DM4310_BRINGUP_TICKS 10

struct dm4310_motor_status {
	uint32_t rx_count;
	uint32_t last_ms;
	uint8_t online;
	uint8_t motor_state;
	uint8_t mos_temp;
	uint8_t coil_temp;
	float pos_rad;
	float vel_radps;
	float torque_nm;
};

struct dm4310_driver {
	uint32_t magic;
	uint32_t ready;
	int32_t init_ret;
	int32_t last_send_ret;
	uint32_t loops;
	uint32_t online_mask;
	uint32_t bringup_step[DM4310_MOTOR_COUNT];
	uint32_t bringup_tick[DM4310_MOTOR_COUNT];
	uint8_t bringup_done;
	uint8_t tx_index;
	uint8_t can1_home_valid;
	uint8_t can1_home_auto_saved;
	uint8_t can1_home_active;
	uint16_t can1_home_enable_ticks;
	int32_t can1_home_load_ret;
	int32_t can1_home_save_ret;
	float can1_home_pos_rad[DM4310_HOME_MOTOR_COUNT];
	uint32_t hold_updates;
	float hold_kp[DM4310_MOTOR_COUNT];
	float hold_kd[DM4310_MOTOR_COUNT];
	float hold_pos_rad[DM4310_MOTOR_COUNT];
	struct dm4310_motor_status motor[DM4310_MOTOR_COUNT];
};

extern volatile struct dm4310_driver g_dm4310;

int dm4310_init(void);
void dm4310_poll_rx(void);
int dm4310_tick(void);
int dm4310_hold_positions(const float target[DM4310_MOTOR_COUNT]);
int dm4310_save_can1_home_current(void);
void dm4310_hold_reset(void);
void dm4310_stop_all(void);
bool dm4310_is_online(uint8_t motor_id);
const volatile struct dm4310_motor_status *dm4310_get(uint8_t motor_id);

/* Packing helpers (exposed for testing) */
void dm4310_pack_special(uint8_t tail, uint8_t data[8]);
void dm4310_pack_control(float pos, float vel, float kp, float kd, float tor, uint8_t data[8]);
bool dm4310_decode_feedback(const uint8_t data[8], struct dm4310_motor_status *out);

#endif
```

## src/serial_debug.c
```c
/**
 * @file serial_debug.c
 * @brief 串口调试数据回传实现 (usart6, 115200 8N1, 轮询 TX)
 */

#include "serial_debug.h"

#include <stdarg.h>
#include <stdio.h>
#include <string.h>

#include <zephyr/device.h>
#include <zephyr/devicetree.h>
#include <zephyr/drivers/uart.h>
#include <zephyr/kernel.h>

/** @brief 调试输出缓冲区大小 */
#define SERIAL_DEBUG_BUF_SIZE 256

/** @brief 获取 usart6 设备节点 */
#define SERIAL_DEBUG_UART DT_NODELABEL(usart6)

static const struct device *serial_dev;

/**
 * @brief 初始化调试串口
 * @return 0 成功, -ENODEV 设备不存在
 */
int serial_debug_init(void)
{
	serial_dev = DEVICE_DT_GET(SERIAL_DEBUG_UART);
	if (!device_is_ready(serial_dev)) {
		return -ENODEV;
	}
	return 0;
}

/**
 * @brief 格式化输出调试字符串
 *
 * 使用轮询 TX 逐字节发送, 非阻塞但会占用 CPU 直到发送完成.
 *
 * @param fmt 格式化字符串
 * @param ... 可变参数
 */
void serial_debug_printf(const char *fmt, ...)
{
	char buf[SERIAL_DEBUG_BUF_SIZE];
	va_list args;
	int len;

	if (serial_dev == NULL || !device_is_ready(serial_dev)) {
		return;
	}

	va_start(args, fmt);
	len = vsnprintf(buf, sizeof(buf), fmt, args);
	va_end(args);

	if (len <= 0) {
		return;
	}

	if ((size_t)len >= sizeof(buf)) {
		len = (int)(sizeof(buf) - 1);
	}

	for (int i = 0; i < len; i++) {
		uart_poll_out(serial_dev, (unsigned char)buf[i]);
	}
}

/**
 * @brief 输出电机状态调试帧
 *
 * 紧凑格式, 一行包含全部 4 台电机的关键数据.
 * 示例:
 * [12345] 0:p1.234v0.012t0.500f00T35/36 1:p-1.234v-0.012t-0.500f00T35/36 ...
 *
 * @param tick_ms    系统运行时间 [ms]
 * @param motor_id   电机编号数组 [4]
 * @param pos_rad    位置数组 [rad]
 * @param vel_radps  速度数组 [rad/s]
 * @param torque_nm  扭矩数组 [Nm]
 * @param fault      故障码数组
 * @param mos_temp   MOS 温度数组 [℃]
 * @param coil_temp  线圈温度数组 [℃]
 */
void serial_debug_motor_frame(uint32_t tick_ms,
			      const uint8_t motor_id[4],
			      const float pos_rad[4],
			      const float vel_radps[4],
			      const float torque_nm[4],
			      const uint8_t fault[4],
			      const uint8_t mos_temp[4],
			      const uint8_t coil_temp[4])
{
	char buf[SERIAL_DEBUG_BUF_SIZE];
	int off;

	off = snprintf(buf, sizeof(buf), "[%u]", tick_ms);

	for (int i = 0; i < 4; i++) {
		off += snprintf(buf + off, sizeof(buf) - (size_t)off,
				" %u:p%+.3fv%+.3ft%+.3ff%02xT%d/%d",
				(unsigned int)motor_id[i],
				(double)pos_rad[i],
				(double)vel_radps[i],
				(double)torque_nm[i],
				(unsigned int)fault[i],
				(int)mos_temp[i],
				(int)coil_temp[i]);
		if (off >= (int)sizeof(buf) - 2) {
			break;
		}
	}

	off += snprintf(buf + off, sizeof(buf) - (size_t)off, "\r\n");

	if (off > (int)sizeof(buf)) {
		off = (int)(sizeof(buf) - 1);
	}

	for (int i = 0; i < off; i++) {
		uart_poll_out(serial_dev, (unsigned char)buf[i]);
	}
}
```

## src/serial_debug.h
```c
/**
 * @file serial_debug.h
 * @brief 串口调试数据回传接口 (usart6, 115200 8N1)
 */

#ifndef SERIAL_DEBUG_H_
#define SERIAL_DEBUG_H_

#include <stdint.h>

/**
 * @brief 初始化调试串口 (usart6)
 * @return 0 成功, 负值错误码
 */
int serial_debug_init(void);

/**
 * @brief 格式化输出调试字符串 (非阻塞)
 * @param fmt 格式化字符串
 * @param ... 可变参数
 */
void serial_debug_printf(const char *fmt, ...);

/**
 * @brief 输出电机状态调试帧
 *
 * 格式: [tick_ms] M0:p=pos,v=vel,t=tor,f=fault,T=mos/coil M1:... M2:... M3:...\n
 *
 * @param tick_ms    系统运行时间 [ms]
 * @param motor_id   电机编号数组 (1-based, 长度 4)
 * @param pos_rad    位置数组 [rad]
 * @param vel_radps  速度数组 [rad/s]
 * @param torque_nm  扭矩数组 [Nm]
 * @param fault      故障码数组
 * @param mos_temp   MOS 温度数组 [℃]
 * @param coil_temp  线圈温度数组 [℃]
 */
void serial_debug_motor_frame(uint32_t tick_ms,
			      const uint8_t motor_id[4],
			      const float pos_rad[4],
			      const float vel_radps[4],
			      const float torque_nm[4],
			      const uint8_t fault[4],
			      const uint8_t mos_temp[4],
			      const uint8_t coil_temp[4]);

#endif /* SERIAL_DEBUG_H_ */
```
